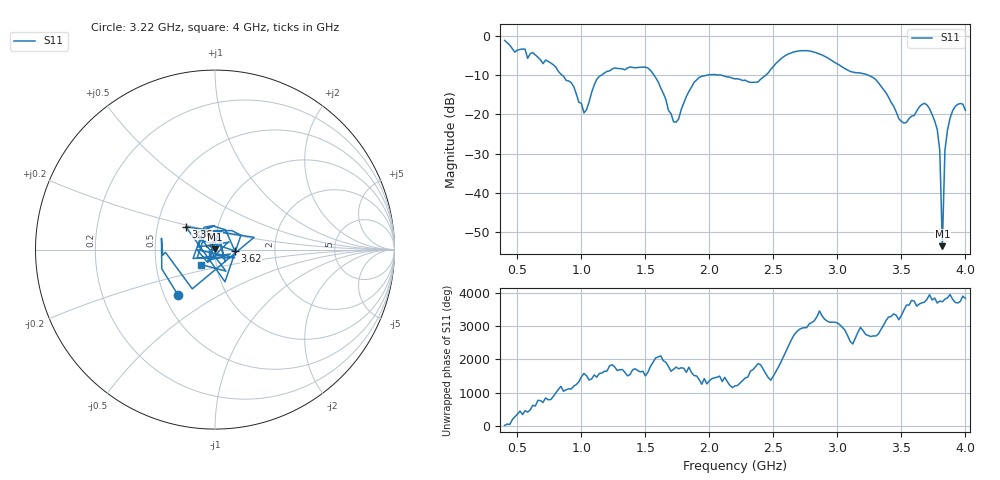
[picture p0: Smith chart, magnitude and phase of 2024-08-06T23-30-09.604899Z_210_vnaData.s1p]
!Created with skrf (http://scikit-rf.org).
# Hz S RI R 50.0
!freq ReS11 ImS11
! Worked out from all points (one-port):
!   181 points, 400 MHz to 4 GHz, reference 50 ohm
!   lowest |S11| = -53.5 dB at 3.82 GHz (marker M1), VSWR 1.00, Z = 49.9 + j0.166 ohm
!   |S11| at or under -10 dB: 1.567 GHz to 1.986 GHz (419.6 MHz wide, 23.6 % of centre); 2.086 GHz to 2.442 GHz (356.1 MHz wide, 15.7 % of centre); 3.238 GHz to end of sweep (the widest 3 of 5)
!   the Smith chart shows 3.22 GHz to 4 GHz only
!   S11 on the Smith chart (normalised r, x): 3.22 GHz: 0.59, -0.33; 3.36 GHz: 0.70, +0.19; 3.62 GHz: 1.25, -0.02; 4 GHz: 0.85, -0.14
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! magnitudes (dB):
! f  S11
! 400 MHz  -1.2
! 860 MHz  -10.3
! 940 MHz  -12.9
! 1.02 GHz  -19.6
! 1.12 GHz  -11.1
! 1.3 GHz  -8.4
! 1.52 GHz  -8.2
! 1.6 GHz  -11.8
! 1.72 GHz  -21.9
! 1.76 GHz  -21.2
! 1.92 GHz  -10.6
! 2.2 GHz  -11.0
! 2.38 GHz  -11.8
! 2.66 GHz  -4.1
! 3.1 GHz  -9.1
! 3.22 GHz  -9.8
! 3.36 GHz  -13.7
! 3.48 GHz  -21.1
! 3.56 GHz  -21.1
! 3.62 GHz  -19.1
! 3.7 GHz  -17.6
! 3.78 GHz  -23.8
! 3.8 GHz  -29.2
! 3.82 GHz  -53.5
! 3.84 GHz  -29.2
! 3.86 GHz  -24.0
! 3.92 GHz  -18.0
! 4 GHz  -19.0
